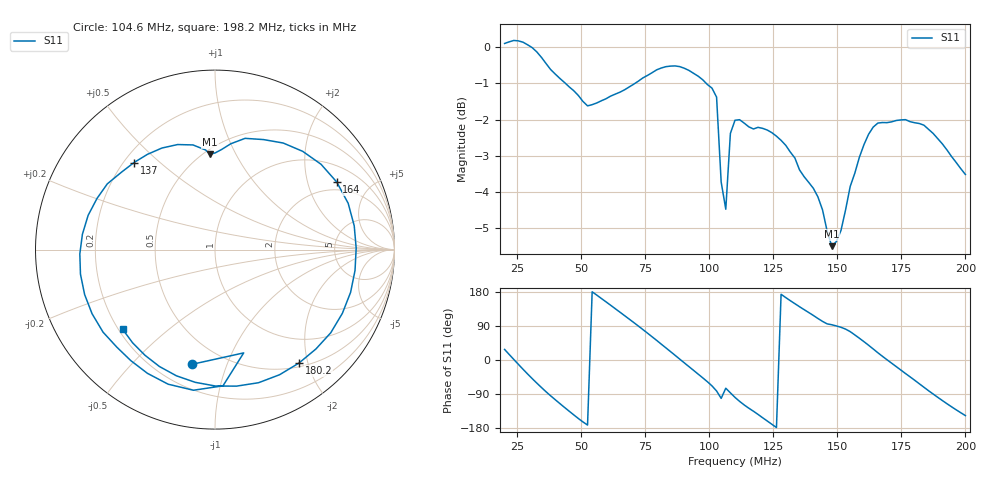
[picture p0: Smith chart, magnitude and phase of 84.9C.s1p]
# HZ S RI R 50
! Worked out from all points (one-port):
!   101 points, 20 MHz to 200 MHz, reference 50 ohm
!   lowest |S11| = -5.5 dB at 147.8 MHz (marker M1), VSWR 3.27, Z = 26.8 + j39.6 ohm
!   |S11| at or under -10 dB: nowhere
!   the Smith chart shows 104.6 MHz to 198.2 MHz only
!   S11 on the Smith chart (normalised r, x): 104.6 MHz: 0.34, -0.76; 137 MHz: 0.24, +0.41; 164 MHz: 1.62, +3.07; 180.2 MHz: 0.56, -1.85; 198.2 MHz: 0.22, -0.36
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2e7  0.8947 0.4727
2.54e7  0.9992 -0.2062
3.26e7  0.4769 -0.8618
3.8e7  -0.0748 -0.9282
4.34e7  -0.514 -0.7312
5.42e7  -0.833 0.000719
6.5e7  -0.5153 0.6967
7.58e7  0.2982 0.8641
8.3e7  0.7969 0.4985
8.84e7  0.9393 0.0389
9.38e7  0.8181 -0.4215
9.92e7  0.4807 -0.7467
1.028e8  0.1224 -0.8444
1.046e8  -0.1264 -0.6388
1.064e8  0.1599 -0.5755
1.1e8  -0.12 -0.7836
1.226e8  -0.7264 -0.2505
1.334e8  -0.6 0.3663
1.37e8  -0.4511 0.4851
1.478e8  -0.028 0.5304
1.55e8  0.1676 0.6199
1.64e8  0.678 0.3769
1.712e8  0.7801 -0.1164
1.784e8  0.5627 -0.5533
1.802e8  0.4679 -0.6321
1.874e8  0.00309 -0.7602
1.982e8  -0.5142 -0.4444
2e8  -0.5574 -0.3666
